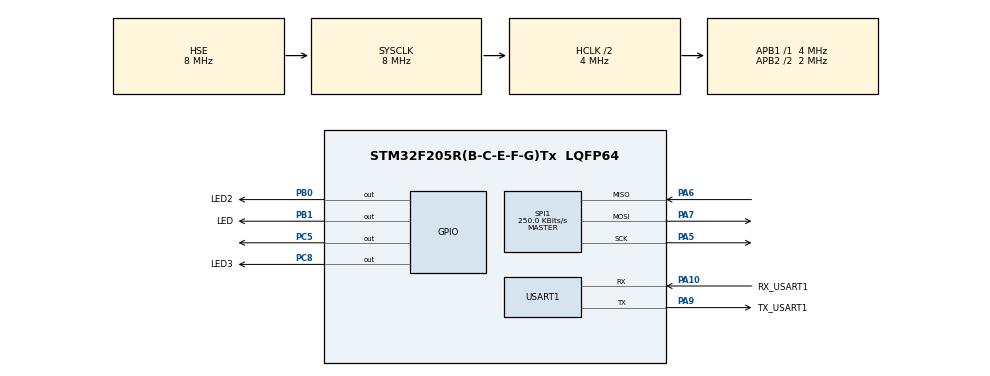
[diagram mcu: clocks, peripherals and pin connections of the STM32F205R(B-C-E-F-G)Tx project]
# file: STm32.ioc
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Mcu.Family=STM32F2
Mcu.Name=STM32F205R(B-C-E-F-G)Tx
Mcu.Package=LQFP64
NVIC.PriorityGroup=NVIC_PRIORITYGROUP_4
NVIC.SPI1_IRQn=true\:0\:0\:true\:false\:true\:true\:true\:true
NVIC.TIM2_IRQn=true\:2\:0\:true\:false\:true\:true\:true\:true
NVIC.USART1_IRQn=true\:1\:0\:true\:false\:true\:true\:true\:true
PA10.GPIO_Label=RX_USART1
PA10.GPIO_ModeDefaultPP=GPIO_MODE_AF_PP
PA10.GPIO_PuPd=GPIO_PULLUP
PA10.GPIO_Speed=GPIO_SPEED_FREQ_VERY_HIGH
PA10.Mode=Asynchronous
PA10.Signal=USART1_RX
PA13.Mode=Serial_Wire
PA13.Signal=SYS_JTMS-SWDIO
PA14.Mode=Serial_Wire
PA14.Signal=SYS_JTCK-SWCLK
PA5.Mode=Full_Duplex_Master
PA5.Signal=SPI1_SCK
PA6.Mode=Full_Duplex_Master
PA6.Signal=SPI1_MISO
PA7.Mode=Full_Duplex_Master
PA7.Signal=SPI1_MOSI
PA9.GPIO_Label=TX_USART1
PA9.GPIO_ModeDefaultPP=GPIO_MODE_AF_PP
PA9.GPIO_PuPd=GPIO_PULLUP
PA9.GPIO_Speed=GPIO_SPEED_FREQ_VERY_HIGH
PA9.Mode=Asynchronous
PA9.Signal=USART1_TX
PB0.GPIO_Label=LED2
PB0.GPIO_ModeDefaultOutputPP=GPIO_MODE_OUTPUT_PP
PB0.GPIO_PuPd=GPIO_PULLUP
PB0.GPIO_Speed=GPIO_SPEED_FREQ_LOW
PB0.PinState=GPIO_PIN_SET
PB0.Signal=GPIO_Output
PB1.GPIO_Label=LED
PB1.GPIO_ModeDefaultOutputPP=GPIO_MODE_OUTPUT_PP
PB1.GPIO_PuPd=GPIO_PULLUP
PB1.GPIO_Speed=GPIO_SPEED_FREQ_LOW
PB1.PinState=GPIO_PIN_SET
PB1.Signal=GPIO_Output
PC14-OSC32_IN.Mode=LSE-External-Oscillator
PC14-OSC32_IN.Signal=RCC_OSC32_IN
PC15-OSC32_OUT.Mode=LSE-External-Oscillator
PC15-OSC32_OUT.Signal=RCC_OSC32_OUT
PC5.Signal=GPIO_Output
PC8.GPIO_Label=LED3
PC8.GPIO_ModeDefaultOutputPP=GPIO_MODE_OUTPUT_PP
PC8.GPIO_PuPd=GPIO_PULLUP
PC8.GPIO_Speed=GPIO_SPEED_FREQ_LOW
PC8.PinState=GPIO_PIN_SET
PC8.Signal=GPIO_Output
PH0-OSC_IN.Mode=HSE-External-Oscillator
PH0-OSC_IN.Signal=RCC_OSC_IN
PH1-OSC_OUT.Mode=HSE-External-Oscillator
PH1-OSC_OUT.Signal=RCC_OSC_OUT
ProjectManager.HeapSize=0x200
ProjectManager.StackSize=0x400
ProjectManager.TargetToolchain=MDK-ARM V5.32
RCC.48MHZClocksFreq_Value=48000000
RCC.AHBCLKDivider=RCC_SYSCLK_DIV2
RCC.AHBFreq_Value=4000000
RCC.APB1Freq_Value=4000000
RCC.APB1TimFreq_Value=4000000
RCC.APB2CLKDivider=RCC_HCLK_DIV2
RCC.APB2Freq_Value=2000000
RCC.APB2TimFreq_Value=4000000
RCC.CortexFreq_Value=4000000
RCC.HCLKFreq_Value=4000000
RCC.HSE_VALUE=8000000
RCC.HSI_VALUE=16000000
RCC.SYSCLKFreq_VALUE=8000000
RCC.SYSCLKSource=RCC_SYSCLKSOURCE_HSE
RCC.VCOOutputFreq_Value=192000000
SPI1.BaudRatePrescaler=SPI_BAUDRATEPRESCALER_8
SPI1.CalculateBaudRate=250.0 KBits/s
SPI1.Direction=SPI_DIRECTION_2LINES
SPI1.Mode=SPI_MODE_MASTER
SPI1.VirtualType=VM_MASTER
TIM2.Period=1999
TIM2.Prescaler=36000
USART1.VirtualMode=VM_ASYNC
VP_TIM2_VS_ClockSourceINT.Mode=Internal
board=custom

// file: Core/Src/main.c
/* USER CODE BEGIN Header */
/**
  ******************************************************************************
  * @file           : main.c
  * @brief          : Main program body
  ******************************************************************************
  * @attention
  *
  * Copyright (c) 2022 STMicroelectronics.
  * All rights reserved.
  *
  * This software is licensed under terms that can be found in the LICENSE file
  * in the root directory of this software component.
  * If no LICENSE file comes with this software, it is provided AS-IS.
  *
  ******************************************************************************
  */
/* USER CODE END Header */
#include "main.h"

/* USER CODE BEGIN Includes */
#include	"uart1.h"
#include	"flash.h"
#include	"xmodem.h"
#include	"stdio.h"
#include	"string.h"
#include	"uart1.h"
#include 	"Flash_External.h"

extern Buffer_TypeDef					UART1_Data;
extern ConfStructure              Config;
/* USER CODE END Includes */

SPI_HandleTypeDef hspi1;

TIM_HandleTypeDef htim2;

UART_HandleTypeDef huart1;

void SystemClock_Config(void);
static void MX_GPIO_Init(void);
static void MX_SPI1_Init(void);
static void MX_USART1_UART_Init(void);
static void MX_TIM2_Init(void);

/* USER CODE BEGIN 0 */
void HAL_TIM_PeriodElapsedCallback(TIM_HandleTypeDef *htim)
{
  /* Prevent unused argument(s) compilation warning */
  UNUSED(htim);

	//memset(Config.RxBuffer,0,1024);
  /* NOTE : This function should not be modified, when the callback is needed,
            the HAL_TIM_PeriodElapsedCallback could be implemented in the user file
   */
}
void mem_set(void* dst, int val, int cnt)
{
	char *d = (char*)dst;
	while (cnt--) *d++ = (char)val;
}
/* USER CODE END 0 */

int main(void)
{
  /* USER CODE BEGIN 1 */
	//uint8_t Buff[]={"NGUYENDUNG"};

  /* USER CODE END 1 */

  /* MCU Configuration--------------------------------------------------------*/

  /* Reset of all peripherals, Initializes the Flash interface and the Systick. */
  HAL_Init();

  /* Configure the system clock */
  SystemClock_Config();

  /* Initialize all configured peripherals */
  MX_GPIO_Init();
  MX_SPI1_Init();
  MX_USART1_UART_Init();
  MX_TIM2_Init();
  /* USER CODE BEGIN 2 */
//	uart_transmit_str((uint8_t*)"\n\r================================\n\r");

	HAL_TIM_Base_Start_IT(&htim2);
	HAL_GPIO_WritePin(GPIOB,GPIO_PIN_1,0);
	//flash_erase(3);
	Erase_Sector();

	uart_transmit_str((uint8_t*)"Erase Complete \r\t");

	xmodem_receive();

  /* USER CODE END 2 */

  /* Infinite loop */
  /* USER CODE BEGIN WHILE */

  while (1)
  {
		if(Config.NewData1 == 1)
		{
			Config.NewData1 = 0;
			Config_Process();
			UART1_Data.Count=0;
			memset(Config.RxBuffer,0,1300);
		//	Watchdog_Reset();
		}
    /* USER CODE END WHILE */

		}
}

void SystemClock_Config(void)
{
  RCC_OscInitTypeDef RCC_OscInitStruct = {0};
  RCC_ClkInitTypeDef RCC_ClkInitStruct = {0};

  /** Initializes the RCC Oscillators according to the specified parameters
  * in the RCC_OscInitTypeDef structure.
  */
  RCC_OscInitStruct.OscillatorType = RCC_OSCILLATORTYPE_HSE;
  RCC_OscInitStruct.HSEState = RCC_HSE_ON;
  RCC_OscInitStruct.PLL.PLLState = RCC_PLL_NONE;
  if (HAL_RCC_OscConfig(&RCC_OscInitStruct) != HAL_OK)
  {
    Error_Handler();
  }

  /** Initializes the CPU, AHB and APB buses clocks
  */
  RCC_ClkInitStruct.ClockType = RCC_CLOCKTYPE_HCLK|RCC_CLOCKTYPE_SYSCLK
                              |RCC_CLOCKTYPE_PCLK1|RCC_CLOCKTYPE_PCLK2;
  RCC_ClkInitStruct.SYSCLKSource = RCC_SYSCLKSOURCE_HSE;
  RCC_ClkInitStruct.AHBCLKDivider = RCC_SYSCLK_DIV2;
  RCC_ClkInitStruct.APB1CLKDivider = RCC_HCLK_DIV1;
  RCC_ClkInitStruct.APB2CLKDivider = RCC_HCLK_DIV2;

  if (HAL_RCC_ClockConfig(&RCC_ClkInitStruct, FLASH_LATENCY_0) != HAL_OK)
  {
    Error_Handler();
  }
}

static void MX_SPI1_Init(void)
{

  /* SPI1 parameter configuration*/
  hspi1.Instance = SPI1;
  hspi1.Init.Mode = SPI_MODE_MASTER;
  hspi1.Init.Direction = SPI_DIRECTION_2LINES;
  hspi1.Init.DataSize = SPI_DATASIZE_8BIT;
  hspi1.Init.CLKPolarity = SPI_POLARITY_LOW;
  hspi1.Init.CLKPhase = SPI_PHASE_1EDGE;
  hspi1.Init.NSS = SPI_NSS_SOFT;
  hspi1.Init.BaudRatePrescaler = SPI_BAUDRATEPRESCALER_8;
  hspi1.Init.FirstBit = SPI_FIRSTBIT_MSB;
  hspi1.Init.TIMode = SPI_TIMODE_DISABLE;
  hspi1.Init.CRCCalculation = SPI_CRCCALCULATION_DISABLE;
  hspi1.Init.CRCPolynomial = 10;
  if (HAL_SPI_Init(&hspi1) != HAL_OK)
  {
    Error_Handler();
  }

}

static void MX_TIM2_Init(void)
{

  TIM_ClockConfigTypeDef sClockSourceConfig = {0};
  TIM_MasterConfigTypeDef sMasterConfig = {0};

  htim2.Instance = TIM2;
  htim2.Init.Prescaler = 36000;
  htim2.Init.CounterMode = TIM_COUNTERMODE_UP;
  htim2.Init.Period = 1999;
  htim2.Init.ClockDivision = TIM_CLOCKDIVISION_DIV1;
  htim2.Init.AutoReloadPreload = TIM_AUTORELOAD_PRELOAD_DISABLE;
  if (HAL_TIM_Base_Init(&htim2) != HAL_OK)
  {
    Error_Handler();
  }
  sClockSourceConfig.ClockSource = TIM_CLOCKSOURCE_INTERNAL;
  if (HAL_TIM_ConfigClockSource(&htim2, &sClockSourceConfig) != HAL_OK)
  {
    Error_Handler();
  }
  sMasterConfig.MasterOutputTrigger = TIM_TRGO_RESET;
  sMasterConfig.MasterSlaveMode = TIM_MASTERSLAVEMODE_DISABLE;
  if (HAL_TIMEx_MasterConfigSynchronization(&htim2, &sMasterConfig) != HAL_OK)
  {
    Error_Handler();
  }

}

static void MX_USART1_UART_Init(void)
{

  huart1.Instance = USART1;
  huart1.Init.BaudRate = 115200;
  huart1.Init.WordLength = UART_WORDLENGTH_8B;
  huart1.Init.StopBits = UART_STOPBITS_1;
  huart1.Init.Parity = UART_PARITY_NONE;
  huart1.Init.Mode = UART_MODE_TX_RX;
  huart1.Init.HwFlowCtl = UART_HWCONTROL_NONE;
  huart1.Init.OverSampling = UART_OVERSAMPLING_16;
  if (HAL_UART_Init(&huart1) != HAL_OK)
  {
    Error_Handler();
  }
  /* USER CODE BEGIN USART1_Init 2 */
	USART1->CR1 |=(1<<5U);
  /* USER CODE END USART1_Init 2 */

}

static void MX_GPIO_Init(void)
{
  GPIO_InitTypeDef GPIO_InitStruct = {0};

  /* GPIO Ports Clock Enable */
  __HAL_RCC_GPIOC_CLK_ENABLE();
  __HAL_RCC_GPIOH_CLK_ENABLE();
  __HAL_RCC_GPIOA_CLK_ENABLE();
  __HAL_RCC_GPIOB_CLK_ENABLE();

  /*Configure GPIO pin Output Level */
  HAL_GPIO_WritePin(GPIOC, GPIO_PIN_5, GPIO_PIN_RESET);

  /*Configure GPIO pin Output Level */
  HAL_GPIO_WritePin(GPIOB, LED2_Pin|LED_Pin, GPIO_PIN_SET);

  /*Configure GPIO pin Output Level */
  HAL_GPIO_WritePin(LED3_GPIO_Port, LED3_Pin, GPIO_PIN_SET);

  /*Configure GPIO pin : PC5 */
  GPIO_InitStruct.Pin = GPIO_PIN_5;
  GPIO_InitStruct.Mode = GPIO_MODE_OUTPUT_PP;
  GPIO_InitStruct.Pull = GPIO_PULLUP;
  GPIO_InitStruct.Speed = GPIO_SPEED_FREQ_LOW;
  HAL_GPIO_Init(GPIOC, &GPIO_InitStruct);

  /*Configure GPIO pins : LED2_Pin LED_Pin */
  GPIO_InitStruct.Pin = LED2_Pin|LED_Pin;
  GPIO_InitStruct.Mode = GPIO_MODE_OUTPUT_PP;
  GPIO_InitStruct.Pull = GPIO_PULLUP;
  GPIO_InitStruct.Speed = GPIO_SPEED_FREQ_LOW;
  HAL_GPIO_Init(GPIOB, &GPIO_InitStruct);

  /*Configure GPIO pin : LED3_Pin */
  GPIO_InitStruct.Pin = LED3_Pin;
  GPIO_InitStruct.Mode = GPIO_MODE_OUTPUT_PP;
  GPIO_InitStruct.Pull = GPIO_PULLUP;
  GPIO_InitStruct.Speed = GPIO_SPEED_FREQ_LOW;
  HAL_GPIO_Init(LED3_GPIO_Port, &GPIO_InitStruct);

	HAL_GPIO_WritePin(GPIOC,GPIO_PIN_5,GPIO_PIN_SET);
}

/* USER CODE BEGIN 4 */

#ifdef __GNUC__
#define PUTCHAR_PROTOTYPE int __io_putchar(int ch)
#else
#define PUTCHAR_PROTOTYPE int fputc(int ch, FILE *f)
#endif /* __GNUC__ */

/**
  * @brief  Retargets the C library printf function to the USART.
  * @param  None
  * @retval None
  */
PUTCHAR_PROTOTYPE
{
	HAL_UART_Transmit(&huart1, (uint8_t*)&ch, 1 , HAL_MAX_DELAY);
////  while(!LL_USART_IsActiveFlag_TXE(USART1)){;}
//	while(!USART_IsActiveFlag_TXE(USART1)){;}
//	/* Send byte through the UART peripheral */
//	USART1->TDR = ch;
	return ch;
}
/* USER CODE END 4 */

void Error_Handler(void)
{
  /* USER CODE BEGIN Error_Handler_Debug */
  /* User can add his own implementation to report the HAL error return state */
 // __disable_irq();
  while (1)
  {
  }
  /* USER CODE END Error_Handler_Debug */
}
